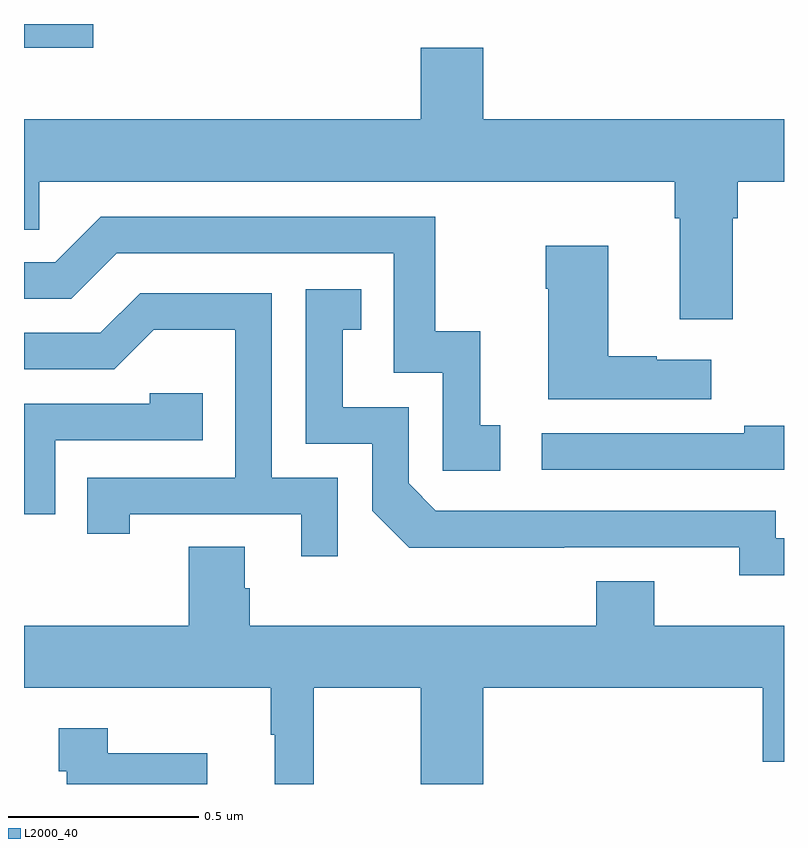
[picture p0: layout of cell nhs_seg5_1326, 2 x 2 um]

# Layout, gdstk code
import gdstk
lib = gdstk.Library(unit=1e-6, precision=1e-09)
def R(c, l, rs):  # rectangles x0, y0, x1, y1
    for r in rs: c.add(gdstk.rectangle(r[:2], r[2:], *l))
def P(c, l, *ps):  # polygons
    for p in ps: c.add(gdstk.Polygon(p, *l))
L2000_40 = (2000, 40)

nhs_seg5_1326 = lib.new_cell('nhs_seg5_1326')
R(nhs_seg5_1326, L2000_40, [(128,899.736,128.182,899.799)])
P(nhs_seg5_1326, L2000_40, [(129.865,899.288),(129.878,899.288),(129.878,899.384),(130,899.384),(130,899.548),(129.208,899.548),(129.208,899.737),(129.044,899.737),(129.044,899.548),(128,899.548),(128,899.257),(128.04,899.257),(128.04,899.384),(129.713,899.384),(129.713,899.288),(129.725,899.288),(129.725,899.022),(129.865,899.022)],
  [(129.253,898.743),(129.2,898.743),(129.2,898.99),(129.082,898.99),(129.082,899.292),(128.202,899.292),(128.082,899.172),(128,899.172),(128,899.076),(128.124,899.076),(128.244,899.196),(128.973,899.196),(128.973,898.881),(129.102,898.881),(129.102,898.623),(129.253,898.623)],
  [(129.808,898.915),(129.665,898.915),(129.665,898.925),(129.538,898.925),(129.538,899.215),(129.373,899.215),(129.373,899.102),(129.38,899.102),(129.38,898.811),(129.808,898.811)],
  [(130,898.446),(129.978,898.446),(129.978,898.518),(129.084,898.518),(129.012,898.59),(129.012,898.791),(128.839,898.791),(128.839,898.995),(128.888,898.995),(128.888,899.101),(128.742,899.101),(128.742,898.695),(128.916,898.695),(128.916,898.518),(129.014,898.421),(129.422,898.421),(129.422,898.422),(129.882,898.422),(129.882,898.349),(130,898.349)],
  [(128.826,898.605),(128.652,898.605),(128.652,899.091),(128.306,899.091),(128.201,898.986),(128,898.986),(128,898.89),(128.238,898.89),(128.342,898.994),(128.556,898.994),(128.556,898.605),(128.167,898.605),(128.167,898.458),(128.278,898.458),(128.278,898.509),(128.729,898.509),(128.729,898.398),(128.826,898.398)],
  [(128.082,898.704),(128.471,898.704),(128.471,898.827),(128.331,898.827),(128.331,898.8),(128,898.8),(128,898.509),(128.082,898.509)],
  [(130,898.742),(129.895,898.742),(129.895,898.722),(129.363,898.722),(129.363,898.626),(130,898.626)],
  [(128.762,898.052),(129.044,898.052),(129.044,897.799),(129.208,897.799),(129.208,898.052),(129.944,898.052),(129.944,897.858),(130,897.858),(130,898.216),(129.658,898.216),(129.658,898.333),(129.506,898.333),(129.506,898.216),(128.594,898.216),(128.594,898.314),(128.581,898.314),(128.581,898.424),(128.434,898.424),(128.434,898.216),(128,898.216),(128,898.052),(128.649,898.052),(128.649,897.929),(128.66,897.929),(128.66,897.799),(128.762,897.799)],
  [(128.482,897.88),(128.221,897.88),(128.221,897.946),(128.092,897.946),(128.092,897.833),(128.112,897.833),(128.112,897.799),(128.482,897.799)])

lib.write_gds('nhs_seg5_1326.gds')
